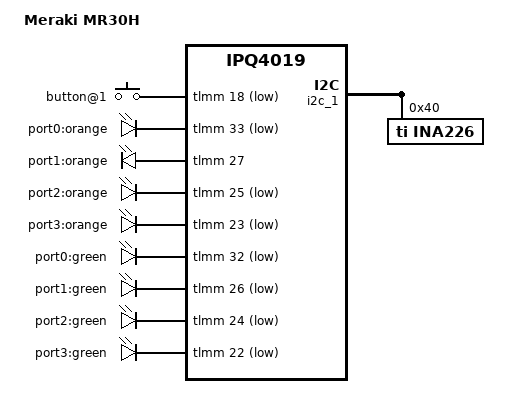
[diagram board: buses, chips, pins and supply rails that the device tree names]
#include "qcom-ipq4019-ap.dk04.1.dtsi"

/ {
	model = "Meraki MR30H";
	compatible = "qcom,ipq4019","meraki,mr30h";

	soc {
		gpio_keys {
			button@1 {
				gpios = <&tlmm 18 GPIO_ACTIVE_LOW>;
			};
		};

		leds {
			// ethernet port leds
			lan1_orange {
				label = "port0:orange";
				gpios = <&tlmm 33 GPIO_ACTIVE_LOW>;
				default-state = "off";
			};

			lan2_orange {
				label = "port1:orange";
				gpios = <&tlmm 27 GPIO_ACTIVE_HIGH>;
				default-state = "off";
			};

			lan3_orange {
				label = "port2:orange";
				gpios = <&tlmm 25 GPIO_ACTIVE_LOW>;
				default-state = "off";
			};

			lan4_orange {
				label = "port3:orange";
				gpios = <&tlmm 23 GPIO_ACTIVE_LOW>;
				default-state = "off";
			};

			lan1_green {
				label = "port0:green";
				gpios = <&tlmm 32 GPIO_ACTIVE_LOW>;
				default-state = "off";
			};

			lan2_green {
				label = "port1:green";
				gpios = <&tlmm 26 GPIO_ACTIVE_LOW>;
				default-state = "off";
			};

			lan3_green {
				label = "port2:green";
				gpios = <&tlmm 24 GPIO_ACTIVE_LOW>;
				default-state = "off";
			};

			lan4_green {
				label = "port3:green";
				gpios = <&tlmm 22 GPIO_ACTIVE_LOW>;
				default-state = "off";
			};
		};

		i2c_1: i2c@78b8000 {
			ina226@40 {
				compatible = "ti,ina226";
				reg = <0x40>;
				shunt-resistor = <12500>;
			};

			lp5562 {
				enable-gpio = <&tlmm 48 GPIO_ACTIVE_HIGH>;
				chan0 {
					 chan-name = "tricolor0:red";
				};
				chan1 {
					 chan-name = "tricolor0:green";
				};
				chan2 {
					 chan-name = "tricolor0:blue";
				};
			};
		};

		ess-switch@c000000 {
			switch_mac_mode = <0x0>; /* mac mode for PSGMII */
			switch_lan_bmp = <0x1e>; /* lan port bitmap */
			switch_wan_bmp = <0x20>; /* wan port bitmap */
		};

		ess_tcsr: ess_tcsr@1953000 {
			ipq,ess-interface-select = <TCSR_ESS_PSGMII>;
		};

		edma@c080000 {
			qcom,self_test;
			qcom,num-gmac = <5>;
			gmac0 {
				qcom,phy-mdio-addr = <4>;
				vlan-tag = <0 0x20>;
				qcom,poll-required = <1>;
			};
			gmac1 {
				qcom,phy-mdio-addr = <3>;
				vlan-tag = <0 0x10>;
				qcom,poll-required = <1>;
			};
			gmac2 {
				qcom,phy-mdio-addr = <2>;
				vlan-tag = <0 0x08>;
				qcom,poll-required = <1>;
			};
			gmac3 {
				qcom,phy-mdio-addr = <1>;
				vlan-tag = <0 0x04>;
				qcom,poll-required = <1>;
			};
			gmac4 {
				qcom,phy-mdio-addr = <0>;
				vlan-tag = <0 0x02>;
				qcom,poll-required = <1>;
			};
		};
	};
};
